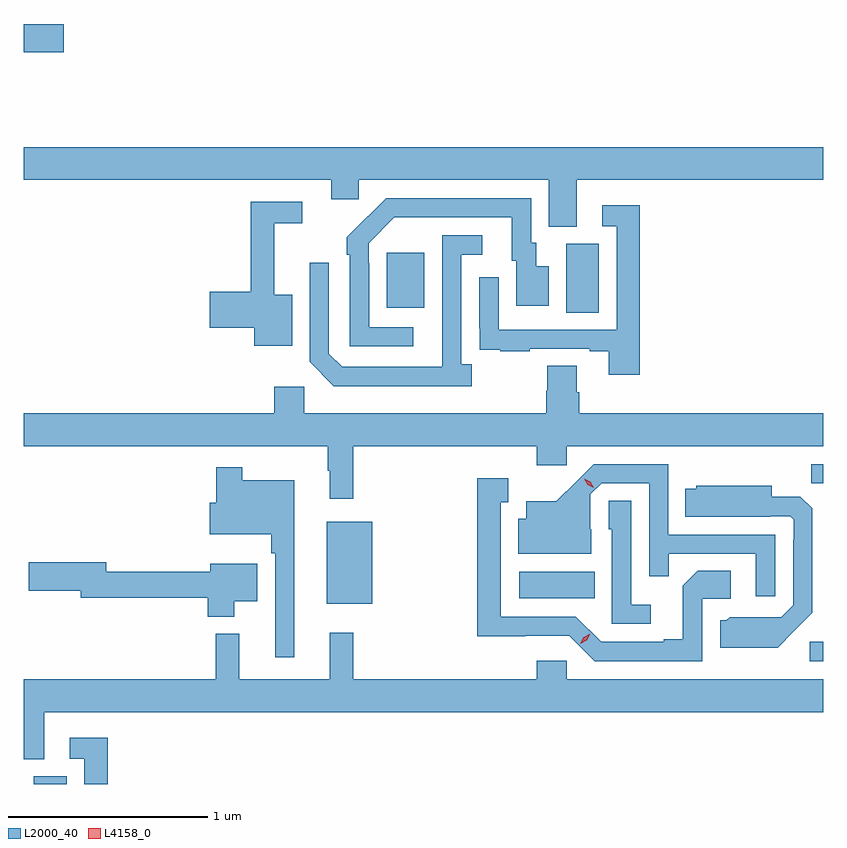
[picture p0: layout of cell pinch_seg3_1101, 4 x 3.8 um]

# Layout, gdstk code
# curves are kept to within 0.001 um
import gdstk
lib = gdstk.Library(unit=1e-6, precision=1e-09)
def R(c, l, rs):  # rectangles x0, y0, x1, y1
    for r in rs: c.add(gdstk.rectangle(r[:2], r[2:], *l))
def P(c, l, *ps):  # polygons
    for p in ps: c.add(gdstk.Polygon(p, *l))
L2000_40 = (2000, 40)
L4158_0 = (4158, 0)

pinch_seg3_1101 = lib.new_cell('pinch_seg3_1101')
R(pinch_seg3_1101, L2000_40, [(345.626,712.545,345.79,712.584), (349.509,713.16,349.576,713.256), (347.093,713.447,347.32,713.857), (348.054,713.474,348.434,713.608), (349.516,714.049,349.576,714.144), (348.29,714.904,348.454,715.248), (347.393,714.929,347.581,715.204), (345.576,716.206,345.775,716.348)])
P(pinch_seg3_1101, L2000_40, [(348.343,715.568),(349.576,715.568),(349.576,715.732),(345.576,715.732),(345.576,715.568),(347.114,715.568),(347.114,715.47),(347.253,715.47),(347.253,715.568),(348.203,715.568),(348.203,715.333),(348.343,715.333)],
  [(347.524,714.831),(347.304,714.831),(347.304,715.151),(347.301,715.151),(347.301,715.251),(347.43,715.38),(348.017,715.38),(348.017,715.164),(348.041,715.164),(348.041,714.939),(348.202,714.939),(348.202,715.135),(348.139,715.135),(348.139,715.254),(348.114,715.254),(348.114,715.476),(347.39,715.476),(347.193,715.281),(347.193,715.193),(347.208,715.193),(347.208,714.735),(347.524,714.735)],
  [(346.918,714.994),(346.829,714.994),(346.829,715.35),(346.969,715.35),(346.969,715.458),(346.711,715.458),(346.711,715.007),(346.506,715.007),(346.506,714.829),(346.73,714.829),(346.73,714.737),(346.918,714.737)],
  [(348.659,715.441),(348.471,715.441),(348.471,715.335),(348.543,715.335),(348.543,714.819),(347.952,714.819),(347.952,715.081),(347.856,715.081),(347.856,714.826),(347.857,714.826),(347.857,714.717),(347.959,714.717),(347.959,714.711),(348.107,714.711),(348.107,714.723),(348.407,714.723),(348.407,714.711),(348.503,714.711),(348.503,714.594),(348.659,714.594)],
  [(347.818,714.646),(347.766,714.646),(347.766,715.194),(347.869,715.194),(347.869,715.29),(347.67,715.29),(347.669,714.633),(347.169,714.633),(347.103,714.699),(347.103,715.153),(347.007,715.153),(347.007,714.657),(347.128,714.536),(347.818,714.536)],
  [(347.225,714.236),(348.143,714.236),(348.143,714.141),(348.294,714.141),(348.294,714.236),(349.576,714.236),(349.576,714.4),(348.356,714.4),(348.356,714.506),(348.343,714.506),(348.343,714.638),(348.196,714.638),(348.196,714.513),(348.191,714.513),(348.191,714.4),(346.98,714.4),(346.98,714.532),(346.829,714.532),(346.829,714.4),(345.576,714.4),(345.576,714.236),(347.097,714.236),(347.097,714.113),(347.108,714.113),(347.108,713.973),(347.225,713.973)],
  [(349.335,713.793),(348.801,713.793),(348.801,714.144),(348.428,714.144),(348.241,713.959),(348.089,713.959),(348.089,713.872),(348.05,713.872),(348.05,713.696),(348.415,713.696),(348.415,713.82),(348.411,713.82),(348.411,713.994),(348.468,714.051),(348.705,714.051),(348.705,713.584),(348.803,713.584),(348.803,713.697),(349.239,713.697),(349.239,713.484),(349.335,713.484)],
  [(346.93,714.064),(346.669,714.064),(346.669,714.13),(346.54,714.13),(346.54,713.953),(346.506,713.953),(346.506,713.795),(346.813,713.795),(346.813,713.699),(346.833,713.699),(346.833,713.178),(346.93,713.178)],
  [(348.972,713.472),(349.114,713.472),(349.114,713.612),(348.949,713.612),(348.873,713.536),(348.873,713.269),(348.779,713.269),(348.779,713.256),(348.465,713.256),(348.339,713.382),(347.962,713.382),(347.962,713.955),(348.001,713.955),(348.001,714.076),(347.844,714.076),(347.844,713.285),(348.306,713.286),(348.432,713.16),(348.972,713.16)],
  [(349.429,713.309),(349.521,713.402),(349.521,713.924),(349.462,713.983),(349.318,713.983),(349.318,714.037),(348.942,714.037),(348.942,714.022),(348.886,714.022),(348.886,713.882),(349.31,713.882),(349.31,713.886),(349.41,713.886),(349.428,713.868),(349.428,713.768),(349.425,713.768),(349.425,713.439),(349.365,713.379),(349.108,713.38),(349.092,713.364),(349.061,713.364),(349.061,713.228),(349.349,713.228)],
  [(348.712,713.443),(348.615,713.443),(348.615,713.963),(348.504,713.963),(348.504,713.82),(348.519,713.82),(348.519,713.346),(348.712,713.346)],
  [(346.63,713.459),(346.744,713.459),(346.744,713.647),(346.508,713.647),(346.508,713.606),(345.988,713.606),(345.988,713.654),(345.6,713.654),(345.6,713.512),(345.86,713.512),(345.86,713.478),(346.496,713.478),(346.496,713.381),(346.63,713.381)],
  [(345.679,712.904),(349.576,712.904),(349.576,713.068),(348.294,713.068),(348.294,713.161),(348.143,713.161),(348.143,713.068),(347.225,713.068),(347.225,713.302),(347.108,713.302),(347.108,713.068),(346.655,713.068),(346.655,713.296),(346.537,713.296),(346.537,713.068),(345.576,713.068),(345.576,712.669),(345.679,712.669)],
  [(345.995,712.777),(345.807,712.777),(345.807,712.671),(345.879,712.671),(345.879,712.545),(345.995,712.545)])
P(pinch_seg3_1101, L4158_0, [(348.428,714.028),(348.397,714.043),(348.38,714.072),(348.38,714.073),(348.38,714.073),(348.411,714.057),(348.428,714.028),(348.428,714.028)],
  [(348.361,713.246),(348.361,713.246),(348.378,713.279),(348.41,713.297),(348.41,713.297),(348.41,713.297),(348.393,713.265),(348.361,713.246)])

lib.write_gds('pinch_seg3_1101.gds')
